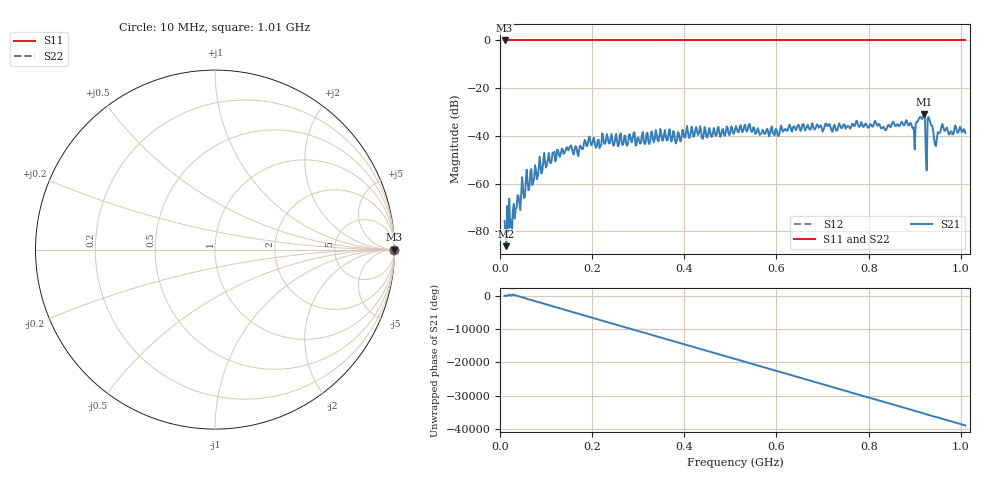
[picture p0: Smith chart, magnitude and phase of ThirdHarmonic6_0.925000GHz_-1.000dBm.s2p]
! 8/16/2025 6:11:45 AM
! C:\ANRITSUVNA\TEMP\TEMP.S2P
! CHANNEL.1
! TR.MEASUREMENT
! RAW.DATA
! RF.CORRECTION.OFF
! AVERAGING.OFF
! IF.BANDWIDTH: 5KHZ
! SWEEPTYPE:  FREQ.SWEEP(Linear)
! Reference Plane Port Info
! PORT:  PORT1  PORT2
! DISTANCE:  0  m  0  m
! TIME:  0  s  0  s
! PHASE.OFFSET:  0  deg.  0  deg.
! LOSS:  0  dB  0  dB
! REF.LOSS:  0  dB  0  dB
! REF.FREQ:  0  Hz  0  Hz
! Power Info
! POWER:  -20  dBm  -20  dBm
! EFF.POWER:  -20  dBm  -20  dBm
! SOURCE.ATTEN:  0  dB  0  dB
! TEST.ATTEN:  0  dB  0  dB
# GHZ S RI R 50.0
! FREQ.GHZ  S11RE  S11IM  S21RE  S21IM  S12RE  S12IM  S22RE  S22IM
!; PortSelection: Port_12
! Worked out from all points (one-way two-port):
!   501 points, 10 MHz to 1.01 GHz, reference 50 ohm
!   highest |S21| = -30.78 dB at 920 MHz (marker M1); lowest = -86.2 dB at 14 MHz (marker M2)
!   lowest |S11| = 0.0 dB at 10 MHz (marker M3)
!   |S11| at or under -10 dB: nowhere
!   |S22| runs from 0.0 to 0.0 dB; largest |S21 - S12| = 1
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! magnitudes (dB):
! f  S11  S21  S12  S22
! 10 MHz  0.0  -75.6  0.0  0.0
! 14 MHz  0.0  -86.2  0.0  0.0
! 28 MHz  0.0  -71.1  0.0  0.0
! 62 MHz  0.0  -62.8  0.0  0.0
! 90 MHz  0.0  -55.8  0.0  0.0
! 150 MHz  0.0  -45.4  0.0  0.0
! 178 MHz  0.0  -45.6  0.0  0.0
! 344 MHz  0.0  -42.3  0.0  0.0
! 510 MHz  0.0  -37.4  0.0  0.0
! 678 MHz  0.0  -34.7  0.0  0.0
! 844 MHz  0.0  -35.3  0.0  0.0
! 884 MHz  0.0  -34.5  0.0  0.0
! 898 MHz  0.0  -36.5  0.0  0.0
! 910 MHz  0.0  -32.4  0.0  0.0
! 918 MHz  0.0  -32.2  0.0  0.0
! 920 MHz  0.0  -30.8  0.0  0.0
! 922 MHz  0.0  -31.1  0.0  0.0
! 928 MHz  0.0  -33.1  0.0  0.0
! 932 MHz  0.0  -33.3  0.0  0.0
! 946 MHz  0.0  -44.3  0.0  0.0
! 960 MHz  0.0  -35.0  0.0  0.0
! 1.01 GHz  0.0  -38.8  0.0  0.0
